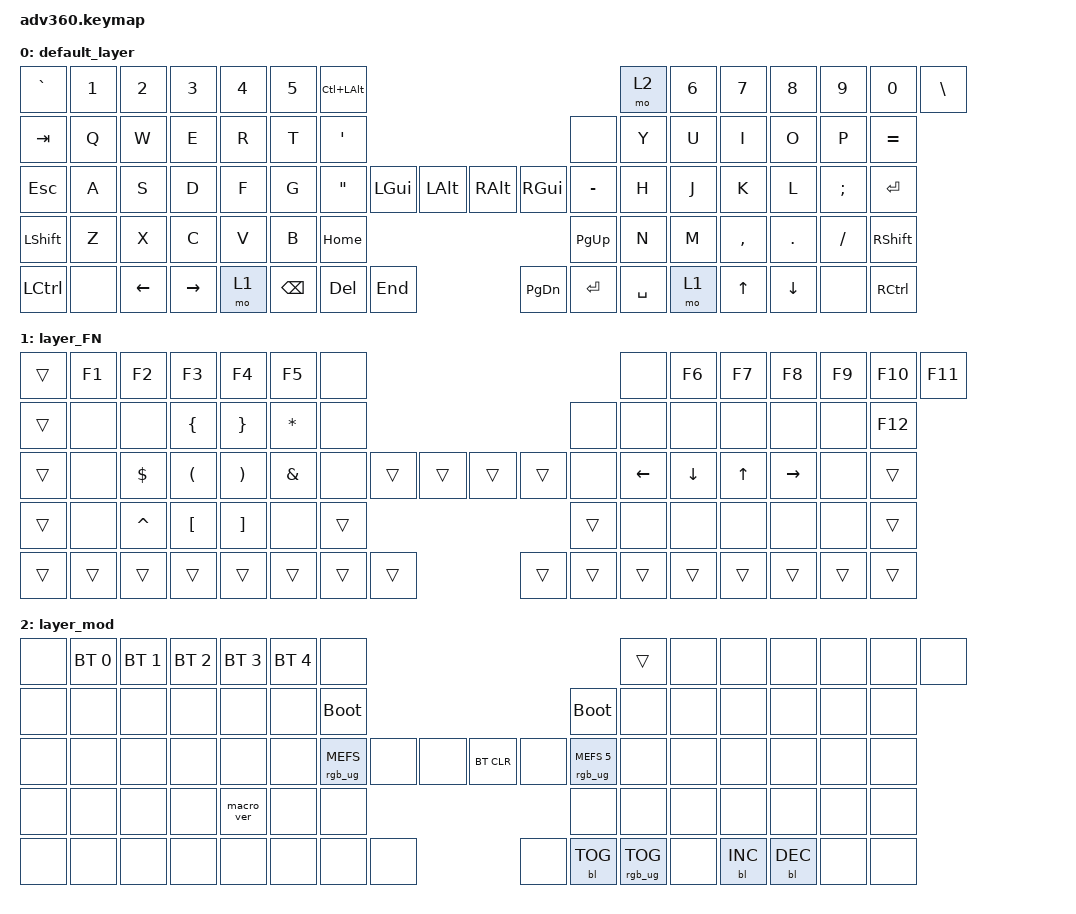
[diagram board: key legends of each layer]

/*
 * Copyright (c) 2020 The ZMK Contributors
 *
 * SPDX-License-Identifier: MIT
 */


/* THIS FILE WAS GENERATED!
 *
 * This file was generated automatically. You may or may not want to
 * edit it directly.
 */

#include <behaviors.dtsi>
#include <dt-bindings/zmk/keys.h>
#include <dt-bindings/zmk/bt.h>
#include <dt-bindings/zmk/rgb.h>
#include <dt-bindings/zmk/backlight.h>

/ {
  behaviors {
    #include "macros.dtsi"
    #include "version.dtsi"

    hm: homerow_mods {
        compatible = "zmk,behavior-hold-tap";
        label = "HOMEROW_MODS";
        #binding-cells = <2>;
        tapping-term-ms = <200>;
        quick_tap_ms = <175>;
        flavor = "tap-preferred";
        bindings = <&kp>, <&kp>;
    };
  };

    keymap {
        compatible = "zmk,keymap";


        default_layer {
            bindings = <
 &kp GRAVE  &kp N1          &kp N2           &kp N3  &kp N4  &kp N5                 &kp LC(LALT)                                                                &mo 2  &kp N6  &kp N7        &kp N8          &kp N9    &kp N0      &kp BACKSLASH
   &kp TAB   &kp Q           &kp W            &kp E   &kp R   &kp T             &kp SINGLE_QUOTE                                                                &none   &kp Y   &kp U         &kp I           &kp O     &kp P          &kp EQUAL
   &kp ESC   &kp A           &kp S            &kp D   &kp F   &kp G            &kp DOUBLE_QUOTES  &kp LGUI  &kp LALT                   &kp RALT   &kp RGUI  &kp MINUS   &kp H   &kp J         &kp K           &kp L  &kp SEMI          &kp ENTER
 &kp LSHFT   &kp Z           &kp X            &kp C   &kp V   &kp B                                         &kp HOME                  &kp PG_UP                         &kp N   &kp M     &kp COMMA         &kp DOT  &kp FSLH          &kp RSHFT
 &kp LCTRL   &none  &kp LEFT_ARROW  &kp RIGHT_ARROW   &mo 1                             &kp BSPC   &kp DEL   &kp END                  &kp PG_DN  &kp ENTER  &kp SPACE           &mo 1  &kp UP_ARROW  &kp DOWN_ARROW     &none  &kp RIGHT_CONTROL
            >;
        };

        layer_FN {
            bindings = <
 &trans  &kp F1      &kp F2                &kp F3                 &kp F4    &kp F5             &none                                                   &none          &kp F6          &kp F7        &kp F8           &kp F9  &kp F10  &kp F11
 &trans   &none       &none        &kp LEFT_BRACE        &kp RIGHT_BRACE  &kp STAR             &none                                                   &none           &none           &none         &none            &none    &none  &kp F12
 &trans   &none  &kp DOLLAR  &kp LEFT_PARENTHESIS  &kp RIGHT_PARENTHESIS  &kp AMPS             &none  &trans  &trans                  &trans  &trans   &none  &kp LEFT_ARROW  &kp DOWN_ARROW  &kp UP_ARROW  &kp RIGHT_ARROW    &none   &trans
 &trans   &none   &kp CARET      &kp LEFT_BRACKET      &kp RIGHT_BRACKET     &none                            &trans                  &trans                           &none           &none         &none            &none    &none   &trans
 &trans  &trans      &trans                &trans                 &trans                      &trans  &trans  &trans                  &trans  &trans  &trans                          &trans        &trans           &trans   &trans   &trans
            >;
        };

        layer_mod {
            bindings = <
  &none  &bt BT_SEL 0  &bt BT_SEL 1  &bt BT_SEL 2  &bt BT_SEL 3  &bt BT_SEL 4                           &none                                                                          &trans   &none   &none       &none       &none   &none   &none
  &none         &none         &none         &none         &none         &none                     &bootloader                                                                     &bootloader   &none   &none       &none       &none   &none   &none
  &none         &none         &none         &none         &none         &none            &rgb_ug RGB_MEFS_CMD   &none   &none                  &bt BT_CLR       &none  &rgb_ug RGB_MEFS_CMD 5   &none   &none       &none       &none   &none   &none
  &none         &none         &none         &none    &macro_ver         &none                                           &none                       &none                                       &none   &none       &none       &none   &none   &none
  &none         &none         &none         &none         &none                                         &none   &none   &none                       &none  &bl BL_TOG         &rgb_ug RGB_TOG           &none  &bl BL_INC  &bl BL_DEC   &none   &none
            >;
        };

    };
};
